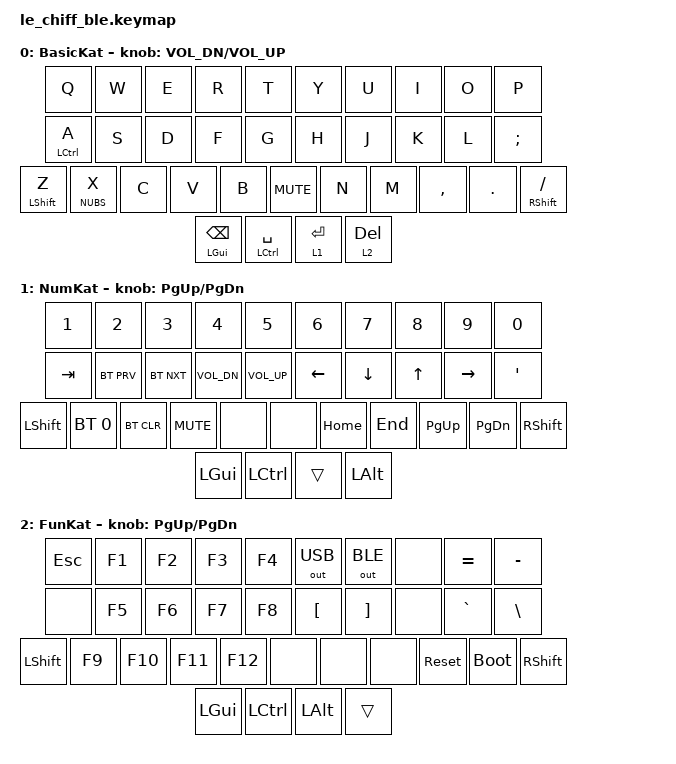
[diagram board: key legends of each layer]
/*
 * Copyright (c) 2021 @MangoIV
 *
 * SPDX-License-Identifier: MIT
 */

#include <behaviors.dtsi>
#include <dt-bindings/zmk/keys.h>
#include <dt-bindings/zmk/bt.h>
#include <dt-bindings/zmk/outputs.h>

// makes it possible to hold backspace
&mt {
    quick_tap_ms = <200>;
};

&lt {
    quick_tap_ms = <200>;
};

/ {
	keymap {
		compatible = "zmk,keymap";
		
		default {
            label = "BasicKat";
//  _____________________________       _____________________________
// /  Q  |  W  |  E  |  R  |  T  \     /  Y  |  U  |  I  |  O  |  P  \
// |LCTL/A|  S  |  D  |  F  |  G  | ___ |  H  |  J  |  K  |  L  |  ;  |
// |Sft/Z|NUBS/X|  C  |  V  |  B  ||MUT||  N  |  M  |  ,  |  .  |Sft//|
//         \LSup/Bspc|  Ctl/SPC  /     \  Num/Del  | Sym/Ent /
//          ---------------------       --------------------
			bindings = <
            &kp Q       &kp W   &kp E   &kp R   &kp T                   &kp Y   &kp U   &kp I       &kp O   &kp P
            &mt LCTRL A &kp S   &kp D   &kp F   &kp G                   &kp H   &kp J   &kp K       &kp L   &kp SEMI
            &mt LSHFT Z &mt NUBS X   &kp C   &kp V   &kp B   &kp C_MUTE      &kp N   &kp M   &kp COMMA   &kp DOT &mt RSHFT FSLH
                        &mt LGUI BSPC   &mt LCTRL SPACE                 &lt 1 RET       &lt 2 DEL
			>;
			sensor-bindings = <&inc_dec_kp C_VOL_DN C_VOL_UP>;
		};
		numbers {
            label = "NumKat";
//  _____________________________       _____________________________
// /  1  |  2  |  3  |  4  |  5  \     /  6  |  7  |  8  |  9  |  0  \
// | TAB |BTPRV|BTNXT| VOL-| VOL+| ___ |  <  |  v  |  ^  |  >  |  '  |
// | Sft |BTSL0|BTCLR| MUT |     ||CPS|| HOME| END | PGUP| PGDN| Sft |
//         \  LGUI   |    Ctl    /     \   Trns    |         /
//          ---------------------       --------------------
			bindings = <
            &kp N1      &kp N2 &kp N3 &kp N4 &kp N5 &kp N6 &kp N7 &kp N8 &kp N9 &kp N0
            &kp TAB &bt BT_PRV &bt BT_NXT &kp C_VOL_DN &kp C_VOL_UP &kp LEFT &kp DOWN &kp UP &kp RIGHT &kp SQT
            &kp LSHFT &bt BT_SEL 0 &bt BT_CLR &kp C_MUTE &none &none &kp HOME &kp END &kp PG_UP &kp PG_DN &kp RSHFT
            &kp LGUI &kp LCTRL &trans &kp LALT
			>;
			sensor-bindings = <&inc_dec_kp PG_UP PG_DN>;
		};
		symbols {
            label = "FunKat";
//  _____________________________       _____________________________
// / ESC | F1  | F2  | F3  | F4  \     / USB | BLE |     |  =  |  -  \
// |     | F5  | F6  | F7  | F8  | ___ |  [  |  ]  |     |  `  |  \  |
// | Sft | F9  | F10 | F11 | F12 ||   ||     |     |     |     | Sft |
//         \  LAlt   |    Ctl    /     \           | Trns    /
//          ---------------------       --------------------
			bindings = <
            &kp ESC &kp F1 &kp F2 &kp F3 &kp F4 &out OUT_USB &out OUT_BLE &none  &kp EQUAL &kp MINUS
            &none &kp F5 &kp F6 &kp F7 &kp F8 &kp LBKT &kp RBKT &none &kp GRAVE &kp BSLH
            &kp LSHFT &kp F9 &kp F10 &kp F11 &kp F12 &none &none &none &sys_reset &bootloader &kp RSHFT
            &kp LGUI &kp LCTRL &kp LALT &trans
			>;
			sensor-bindings = <&inc_dec_kp PG_UP PG_DN>;
		};
	};
};
